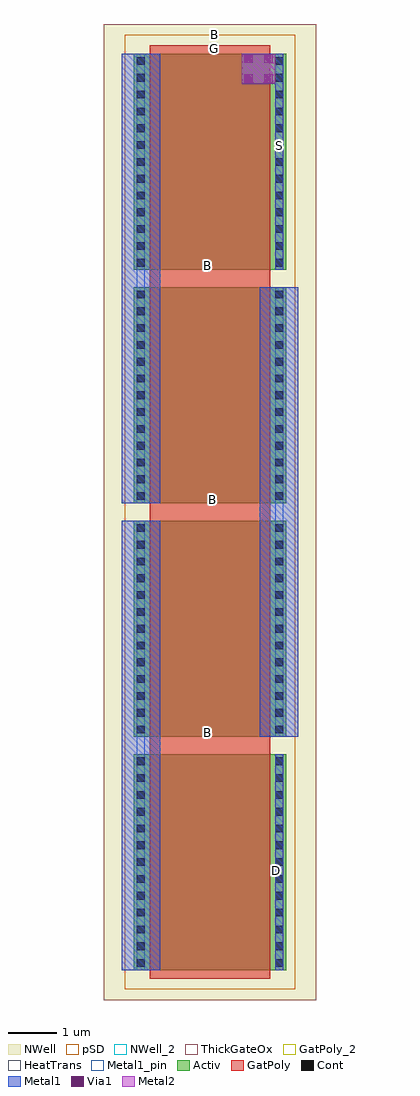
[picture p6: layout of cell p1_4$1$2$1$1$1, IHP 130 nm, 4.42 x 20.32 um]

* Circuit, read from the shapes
.subckt p1_4$1$2$1$1$1 B D G S
XM1 D G n1 B sg13_hv_pmos w=4.5u l=2.5u
XM2 n2 G n1 B sg13_hv_pmos w=4.5u l=2.5u
XM3 n2 G n3 B sg13_hv_pmos w=4.5u l=2.5u
XM4 S G n3 B sg13_hv_pmos w=4.5u l=2.5u
.ends

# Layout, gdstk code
from math import pi, radians
import gdstk
lib = gdstk.Library(unit=1e-6, precision=1e-09)
def R(c, l, rs):  # rectangles x0, y0, x1, y1
    for r in rs: c.add(gdstk.rectangle(r[:2], r[2:], *l))
def A(c, l, x, y, w, h, nx, ny, dx, dy):  # array of equal rectangles
    R(c, l, [(x+i*dx, y+j*dy, x+i*dx+w, y+j*dy+h) for i in range(nx) for j in range(ny)])
Activ = (1, 0)
GatPoly = (5, 0)
GatPoly_2 = (5, 2)
Cont = (6, 0)
Metal1 = (8, 0)
Metal1_pin = (8, 2)
Metal2 = (10, 0)
pSD = (14, 0)
Via1 = (19, 0)
NWell = (31, 0)
NWell_2 = (31, 2)
ThickGateOx = (44, 0)
HeatTrans = (51, 0)

pmoshv = lib.new_cell('pmosHV')
R(pmoshv, Activ, [(0,0,0.3,0.3), (0,0,3.18,4.5), (2.88,0,3.18,0.3)])
R(pmoshv, GatPoly, [(0.34,-0.18,2.84,4.68)])
R(pmoshv, GatPoly_2, [(0.34,-0.18,2.84,4.68)])
A(pmoshv, Cont, 0.07, 0.07, 0.16, 0.16, 1, 13, 0, 0.35)
A(pmoshv, Cont, 2.95, 0.07, 0.16, 0.16, 1, 13, 0, 0.35)
R(pmoshv, Metal1, [(0.07,0,0.23,4.5), (2.95,0,3.11,4.5)])
R(pmoshv, Metal1_pin, [(0.07,0,0.23,4.5), (2.95,0,3.11,4.5)])
R(pmoshv, pSD, [(-0.18,-0.4,3.36,4.9)])
R(pmoshv, NWell, [(-0.62,-0.62,3.8,5.12)])
R(pmoshv, ThickGateOx, [(-0.62,-0.62,3.8,5.12)])
R(pmoshv, HeatTrans, [(0.34,-0.18,2.84,4.68)])
pmoshv.add(gdstk.Label('pmosHV', (1.59,2.25), layer=63, texttype=0))
pmoshv.add(gdstk.Label('pmos', (1.59,2.25), layer=51, texttype=0))

via_stack_2 = lib.new_cell('via_stack$2')
R(via_stack_2, Metal1, [(-0.35,-0.31,0.35,0.31)])
R(via_stack_2, Metal2, [(-0.35,-0.305,0.35,0.305)])
R(via_stack_2, Via1, [(-0.3,-0.3,-0.11,-0.11), (0.11,-0.3,0.3,-0.11), (-0.3,0.11,-0.11,0.3), (0.11,0.11,0.3,0.3)])

p1_4_1_2_1_1_1 = lib.new_cell('p1_4$1$2$1$1$1')
R(p1_4_1_2_1_1_1, Metal1, [(0.69,5.12,0.85,5.52), (3.57,9.98,3.73,10.34), (0.69,14.84,0.85,15.24)])
R(p1_4_1_2_1_1_1, Metal1_pin, [(3.57,0.62,3.73,5.12), (0.69,5.12,0.85,5.48), (3.57,9.98,3.73,10.34), (0.69,14.84,0.85,15.2), (3.57,15.2,3.73,19.7)])
A(p1_4_1_2_1_1_1, NWell_2, 0, 0, 4.42, 5.74, 1, 4, 0, 4.86)
p1_4_1_2_1_1_1.add(gdstk.FlexPath([(3.65,14.84),(3.65,5.48)], 0.8, ends="flush", simple_path=True, layer=8, datatype=0))  # Metal1
p1_4_1_2_1_1_1.add(gdstk.FlexPath([(0.77,0.62),(0.77,9.98)], 0.8, ends="flush", simple_path=True, layer=8, datatype=0))  # Metal1
p1_4_1_2_1_1_1.add(gdstk.FlexPath([(0.77,10.34),(0.77,19.7)], 0.8, ends="flush", simple_path=True, layer=8, datatype=0))  # Metal1
p1_4_1_2_1_1_1.add(gdstk.Reference(pmoshv, (0.62,10.34)))
p1_4_1_2_1_1_1.add(gdstk.Reference(pmoshv, (3.8,5.48), rotation=pi, x_reflection=True))
p1_4_1_2_1_1_1.add(gdstk.Reference(via_stack_2, (3.22,19.39)))
p1_4_1_2_1_1_1.add(gdstk.Reference(pmoshv, (3.8,15.2), rotation=pi, x_reflection=True))
p1_4_1_2_1_1_1.add(gdstk.Reference(pmoshv, (0.62,0.62)))
p1_4_1_2_1_1_1.add(gdstk.Label('B', (2.15,15.29), layer=31, texttype=0))
p1_4_1_2_1_1_1.add(gdstk.Label('B', (2.27,10.43), layer=31, texttype=0))
p1_4_1_2_1_1_1.add(gdstk.Label('B', (2.15,5.57), layer=31, texttype=0))
p1_4_1_2_1_1_1.add(gdstk.Label('S', (3.65,17.8), layer=8, texttype=2))
p1_4_1_2_1_1_1.add(gdstk.Label('D', (3.6,2.7), layer=8, texttype=2))
p1_4_1_2_1_1_1.add(gdstk.Label('S', (3.65,17.8), layer=63, texttype=0))
p1_4_1_2_1_1_1.add(gdstk.Label('D', (3.6,2.7), layer=63, texttype=0))
p1_4_1_2_1_1_1.add(gdstk.Label('G', (2.3,19.8), layer=63, texttype=0))
p1_4_1_2_1_1_1.add(gdstk.Label('B', (2.3,20.1), layer=63, texttype=0))
p1_4_1_2_1_1_1.add(gdstk.Label('G', (2.3,19.8), layer=5, texttype=0))
p1_4_1_2_1_1_1.add(gdstk.Label('G', (2.3,19.8), layer=5, texttype=2))
p1_4_1_2_1_1_1.add(gdstk.Label('B', (2.3,20.1), layer=31, texttype=2))

lib.write_gds('p1_4_1_2_1_1_1.gds')
